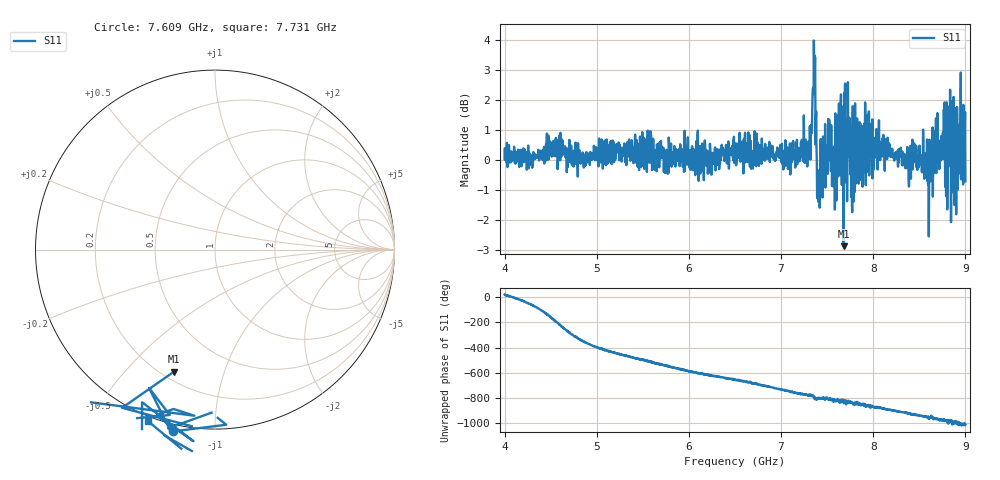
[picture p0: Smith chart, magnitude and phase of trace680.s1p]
! Created with skrf 1.8.0 (http://scikit-rf.org).
# Hz S RI R 50.0
!freq ReS11 ImS11
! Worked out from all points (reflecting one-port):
!   1601 points, 4 GHz to 9 GHz, reference 50 ohm
!   lowest |S11| = -2.9 dB at 7.678 GHz (marker M1), VSWR 6.09, Z = 12.3 - j34.5 ohm
!   phase of S11 starts at 21 deg and turns -1030 deg over the sweep
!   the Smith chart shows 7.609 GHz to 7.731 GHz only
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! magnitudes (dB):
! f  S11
! 4 GHz  0.0
! 4.625 GHz  0.2
! 4.847 GHz  0.3
! 5.25 GHz  0.5
! 5.875 GHz  0.0
! 6.5 GHz  0.2
! 7.125 GHz  0.2
! 7.294 GHz  0.5
! 7.356 GHz  4.0
! 7.369 GHz  3.4
! 7.397 GHz  -1.3
! 7.412 GHz  -0.4
! 7.519 GHz  0.0
! 7.578 GHz  0.4
! 7.631 GHz  0.7
! 7.678 GHz  -2.9
! 7.75 GHz  -0.1
! 7.775 GHz  0.8
! 7.834 GHz  0.4
! 7.928 GHz  1.1
! 8.375 GHz  0.0
! 8.522 GHz  0.2
! 8.603 GHz  -2.6
! 8.688 GHz  0.7
! 8.834 GHz  2.4
! 8.869 GHz  -0.4
! 8.956 GHz  0.5
! 9 GHz  -0.7
